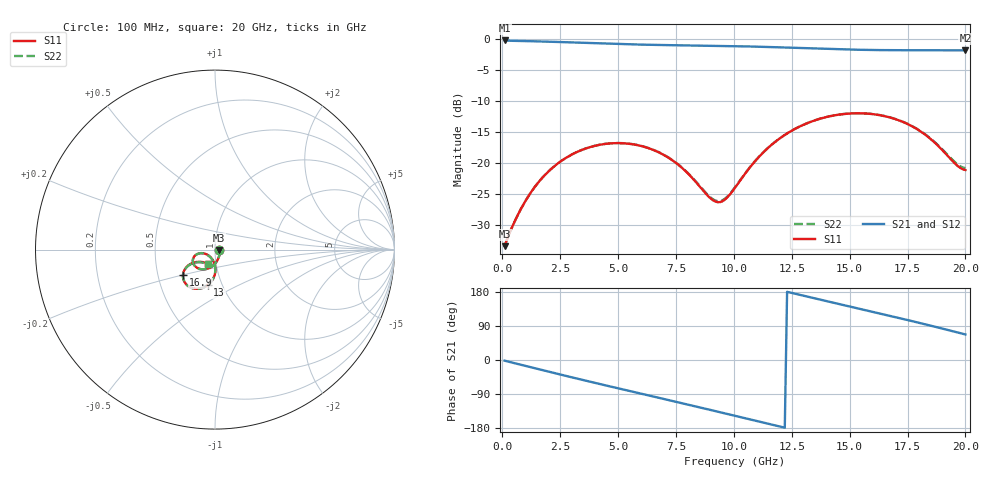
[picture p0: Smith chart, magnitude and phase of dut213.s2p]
! Touchstone file exported from HFSS 2026.1.0
!  File:  C:/ffzhzh/LocalFiles/Ansys_Project_Files/temp_train_TSV_RDL_213_1783062091_45820.aedt
!  Generated:  03:12:28 PM Jul  3, 2026
!  Design:  TSV_RDL
!  Project:  temp_train_TSV_RDL_213_1783062091_45820
! Variables:
!  h_bsmrdl = 5.62um
!  h_ox = 20um
!  h_rdl = 5um
!  h_sub = 81.45um
!  h_tmrdl = 5.61um
!  h_tsv = 81.45um
!  h_via = 3um
!  l_bsmrdl = 357.86um
!  l_sub = 4145.57um
!  l_tmrdl = 630.76um
!  m_sub = 200um
!  pitch = 30.2um
!  r_tsv = 2.37um
!  s_tmrdl = 10um
!  w_bsmrdl = 20.89um
!  w_sub = 500um
!  w_tmrdl = 28.76um
!  x_tsv_center1 = 645.14um
!  x_tsv_center2 = 1023.89um
!  x_tsv_center3 = 1683.41um
!  x_tsv_center4 = 2062.16um
!  x_tsv_center5 = 2721.68um
!  x_tsv_center6 = 3100.43um
# GHz S MA R 50.000000
! Terminal data exported
! Port[1] = TM_RDL1_1_T1
! Port[2] = TM_RDL5_1_T1
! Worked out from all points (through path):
!   200 points, 100 MHz to 20 GHz, reference 50 ohm
!   highest |S21| = -0.19 dB at 100 MHz (marker M1); lowest = -1.8 dB at 20 GHz (marker M2)
!   group delay of S21, straight-line fit = 40.2 ps
!   lowest |S11| = -33.5 dB at 100 MHz (marker M3), VSWR 1.04, Z = 52.2 - j0.14 ohm
!   |S11| at or under -10 dB: start of sweep to end of sweep
!   |S22| runs from -33.5 to -12.0 dB; largest |S21 - S12| = 1.6e-14
!   S11 on the Smith chart (normalised r, x): 100 MHz: 1.04, -0.00; 13 GHz: 0.85, -0.35; 16.9 GHz: 0.67, -0.20; 20 GHz: 0.91, -0.14
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0.1  0.02117 -3.6  0.9788 -1.7  0.9788 -1.7  0.02117 -3.6
! Gamma 0 0 0 0
! Port Impedance 50 0 50 0
0.8  0.04218 -56.9  0.969 -12.5  0.969 -12.5  0.0422 -56.8
1.5  0.06743 -82.4  0.9625 -23.2  0.9625 -23.2  0.06747 -82.3
2.4  0.09893 -102.4  0.9515 -36.8  0.9515 -36.8  0.09901 -102.3
3.5  0.1286 -121.1  0.9359 -53.0  0.9359 -53.0  0.1287 -121.0
5.1  0.1444 -143.7  0.9149 -76.1  0.9149 -76.1  0.1446 -143.5
6.8  0.1206 -162.1  0.8995 -100.3  0.8995 -100.3  0.121 -161.8
7.7  0.09321 -166.6  0.894 -113.2  0.894 -113.2  0.09375 -166.2
9.2  0.04863 -137.1  0.8858 -134.8  0.8858 -134.8  0.04955 -137.0
9.6  0.05018 -116.4  0.8833 -140.7  0.8833 -140.7  0.05102 -116.8
10.1  0.06478 -97.9  0.8797 -148.0  0.8797 -148.0  0.06538 -98.4
10.8  0.0972 -89.1  0.8737 -158.2  0.8737 -158.2  0.09755 -89.5
11.5  0.1334 -89.9  0.8665 -168.5  0.8665 -168.5  0.1336 -90.2
13  0.203 -101.8  0.8483 169.8  0.8483 169.8  0.2032 -101.9
13.4  0.2176 -105.9  0.8432 164.0  0.8432 164.0  0.2178 -105.8
15  0.2507 -122.7  0.8259 141.3  0.8259 141.3  0.251 -122.5
16.7  0.2341 -139.7  0.8168 117.1  0.8168 117.1  0.2347 -139.3
16.9  0.2284 -141.4  0.8164 114.2  0.8164 114.2  0.229 -141.0
17.7  0.1976 -147.4  0.8161 102.6  0.8161 102.6  0.1985 -146.8
18.5  0.1559 -149.7  0.8166 90.6  0.8166 90.6  0.1572 -148.9
19.6  0.09676 -133.8  0.8158 73.7  0.8158 73.7  0.09937 -133.1
20  0.08756 -116.9  0.8143 67.4  0.8143 67.4  0.09055 -116.8
